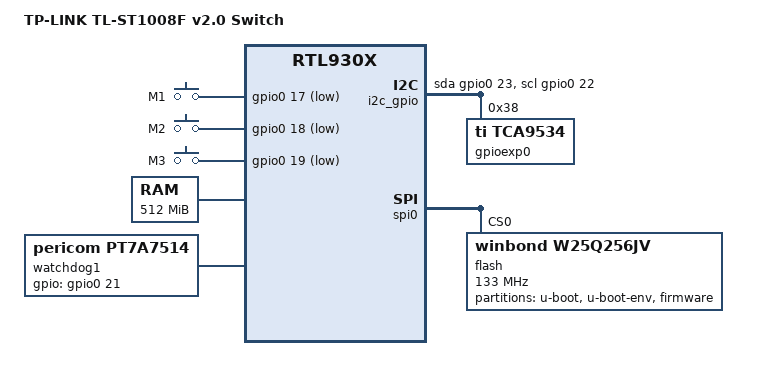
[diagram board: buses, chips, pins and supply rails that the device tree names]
// SPDX-License-Identifier: (GPL-2.0-or-later OR MIT)
/dts-v1/;

#include <dt-bindings/gpio/gpio.h>
#include <dt-bindings/input/input.h>
#include <dt-bindings/leds/common.h>
#include <dt-bindings/leds/leds-realtek.h>

#include "rtl9303.dtsi"
#include "rtl9303_common_8s.dtsi"

/ {
	compatible = "tp-link,st1008fv2.0", "realtek,rtl9303-soc", "realtek,rtl930x-soc";
	model = "TP-LINK TL-ST1008F v2.0 Switch";

	gpio-keys {
		compatible = "gpio-keys";

		/* Three-state front-panel slider switch with printed labels M1, M2 and M3 */
		m1 {
			label = "M1";
			gpios = <&gpio0 17 GPIO_ACTIVE_LOW>;
			debounce-interval = <50>;
			linux,code = <BTN_0>;
			linux,input-type = <EV_SW>;
		};

		m2 {
			label = "M2";
			gpios = <&gpio0 18 GPIO_ACTIVE_LOW>;
			debounce-interval = <50>;
			linux,code = <BTN_1>;
			linux,input-type = <EV_SW>;
		};

		m3 {
			label = "M3";
			gpios = <&gpio0 19 GPIO_ACTIVE_LOW>;
			debounce-interval = <50>;
			linux,code = <BTN_2>;
			linux,input-type = <EV_SW>;
		};
	};

	i2c_gpio {
		compatible = "i2c-gpio";
		#address-cells = <1>;
		#size-cells = <0>;
		i2c-gpio,delay-us = <2>;
		scl-gpios = <&gpio0 22 (GPIO_ACTIVE_HIGH | GPIO_OPEN_DRAIN)>;
		sda-gpios = <&gpio0 23 (GPIO_ACTIVE_HIGH | GPIO_OPEN_DRAIN)>;

		gpioexp0: i2c@38 {
			reg = <0x38>;
			compatible = "ti,tca9534", "nxp,pca9534";
			gpio-controller;
			#gpio-cells = <2>;
		};
	};

	led_set {
		compatible = "realtek,rtl9302-leds", "realtek,rtl9300-leds";
		active-high;
		led_set0 = /bits/ 16 <
			/* LED0 */
			(
				RTL93XX_LED_SET_LINK_ACTIVITY |
				RTL93XX_LED_SET_LINK_UP_SOLID |
				RTL93XX_LED_SET_10G_LINK
			)
			/* LED1 */
			(
				RTL93XX_LED_SET_LINK_ACTIVITY |
				RTL93XX_LED_SET_LINK_UP_SOLID |
				RTL93XX_LED_SET_2G5_LINK
			)
			/* LED2 */
			(
				RTL93XX_LED_SET_LINK_ACTIVITY |
				RTL93XX_LED_SET_LINK_UP_SOLID |
				RTL93XX_LED_SET_1000M_LINK |
				RTL93XX_LED_SET_100M_LINK |
				RTL93XX_LED_SET_10M_LINK
			)
		>;
	};

	memory@0 {
		reg = <0x0 0x20000000>; /* 512 MiB */
		device_type = "memory";
	};

	watchdog1: watchdog {
		compatible = "pericom,pt7a7514", "linux,wdt-gpio";
		gpios = <&gpio0 21 GPIO_ACTIVE_HIGH>;
		hw_algo = "toggle";
		hw_margin_ms = <1200>;
		always-running;
	};
};

&sfp0 {
	mod-def0-gpio = <&gpio0 0 GPIO_ACTIVE_LOW>;
	tx-disable-gpio = <&gpioexp0 0 GPIO_ACTIVE_HIGH>;
};

&sfp1 {
	mod-def0-gpio = <&gpio0 1 GPIO_ACTIVE_LOW>;
	tx-disable-gpio = <&gpioexp0 1 GPIO_ACTIVE_HIGH>;
};

&sfp2 {
	mod-def0-gpio = <&gpio0 2 GPIO_ACTIVE_LOW>;
	tx-disable-gpio = <&gpioexp0 2 GPIO_ACTIVE_HIGH>;
};

&sfp3 {
	mod-def0-gpio = <&gpio0 3 GPIO_ACTIVE_LOW>;
	tx-disable-gpio = <&gpioexp0 3 GPIO_ACTIVE_HIGH>;
};

&sfp4 {
	mod-def0-gpio = <&gpio0 4 GPIO_ACTIVE_LOW>;
	tx-disable-gpio = <&gpioexp0 4 GPIO_ACTIVE_HIGH>;
};

&sfp5 {
	mod-def0-gpio = <&gpio0 5 GPIO_ACTIVE_LOW>;
	tx-disable-gpio = <&gpioexp0 5 GPIO_ACTIVE_HIGH>;
};

&sfp6 {
	mod-def0-gpio = <&gpio0 6 GPIO_ACTIVE_LOW>;
	tx-disable-gpio = <&gpioexp0 6 GPIO_ACTIVE_HIGH>;
};

&sfp7 {
	mod-def0-gpio = <&gpio0 7 GPIO_ACTIVE_LOW>;
	tx-disable-gpio = <&gpioexp0 7 GPIO_ACTIVE_HIGH>;
};

&spi0 {
	status = "okay";
	flash@0 {
		compatible = "winbond,w25q256jv", "jedec,spi-nor";
		reg = <0>;
		spi-max-frequency = <133000000>;

		partitions: partitions {
			compatible = "fixed-partitions";
			#address-cells = <1>;
			#size-cells = <1>;

			partition@0 {
				reg = <0x0 0xe0000>;
				label = "u-boot";
				read-only;
			};

			partition@e0000 {
				reg = <0xe0000 0x10000>;
				label = "u-boot-env";
			};

			partition@f0000 {
				reg = <0xf0000 0x1f10000>;
				compatible = "openwrt,uimage", "denx,uimage";
				label = "firmware";
				openwrt,ih-magic = <0x93000000>;
			};
		};
	};
};

&switch0 {
	switch0_ports: ports {
		#address-cells = <1>;
		#size-cells = <0>;

		port@0 {
			reg = <0>;
			label = "lan1";
			led-num = <(
				RTL93XX_LED_NUM0 | /* Lime */
				RTL93XX_LED_NUM1 | /* Lime */
				RTL93XX_LED_NUM2   /* Lime */
			)>;
			led-set = <0>;
			phy-handle = <&phy0>;
			phy-mode = "10gbase-r";
			managed = "in-band-status";
			sfp = <&sfp0>;
		};

		port@8 {
			reg = <8>;
			label = "lan2";
			led-num = <(
				RTL93XX_LED_NUM0 | /* Lime */
				RTL93XX_LED_NUM1 | /* Lime */
				RTL93XX_LED_NUM2   /* Lime */
			)>;
			led-set = <0>;
			phy-handle = <&phy8>;
			phy-mode = "10gbase-r";
			managed = "in-band-status";
			sfp = <&sfp1>;
		};

		port@16 {
			reg = <16>;
			label = "lan3";
			led-num = <(
				RTL93XX_LED_NUM0 | /* Lime */
				RTL93XX_LED_NUM1 | /* Lime */
				RTL93XX_LED_NUM2   /* Lime */
			)>;
			led-set = <0>;
			phy-handle = <&phy16>;
			phy-mode = "10gbase-r";
			managed = "in-band-status";
			sfp = <&sfp2>;
		};

		port@20 {
			reg = <20>;
			label = "lan4";
			led-num = <(
				RTL93XX_LED_NUM0 | /* Lime */
				RTL93XX_LED_NUM1 | /* Lime */
				RTL93XX_LED_NUM2   /* Lime */
			)>;
			led-set = <0>;
			phy-handle = <&phy20>;
			phy-mode = "10gbase-r";
			managed = "in-band-status";
			sfp = <&sfp3>;
		};

		port@24 {
			reg = <24>;
			label = "lan5";
			led-num = <(
				RTL93XX_LED_NUM0 | /* Lime */
				RTL93XX_LED_NUM1 | /* Lime */
				RTL93XX_LED_NUM2   /* Lime */
			)>;
			led-set = <0>;
			phy-handle = <&phy24>;
			phy-mode = "10gbase-r";
			managed = "in-band-status";
			sfp = <&sfp4>;
		};

		port@25 {
			reg = <25>;
			label = "lan6";
			led-num = <(
				RTL93XX_LED_NUM0 | /* Lime */
				RTL93XX_LED_NUM1 | /* Lime */
				RTL93XX_LED_NUM2   /* Lime */
			)>;
			led-set = <0>;
			phy-handle = <&phy25>;
			phy-mode = "10gbase-r";
			managed = "in-band-status";
			sfp = <&sfp5>;
		};

		port@26 {
			reg = <26>;
			label = "lan7";
			led-num = <(
				RTL93XX_LED_NUM0 | /* Lime */
				RTL93XX_LED_NUM1 | /* Lime */
				RTL93XX_LED_NUM2   /* Lime */
			)>;
			led-set = <0>;
			phy-handle = <&phy26>;
			phy-mode = "10gbase-r";
			managed = "in-band-status";
			sfp = <&sfp6>;
		};

		port@27 {
			reg = <27>;
			label = "lan8";
			led-num = <(
				RTL93XX_LED_NUM0 | /* Lime */
				RTL93XX_LED_NUM1 | /* Lime */
				RTL93XX_LED_NUM2   /* Lime */
			)>;
			led-set = <0>;
			phy-handle = <&phy27>;
			phy-mode = "10gbase-r";
			managed = "in-band-status";
			sfp = <&sfp7>;
		};

		/* Internal SoC <-> Switch ethernet connection */
		port@28 {
			reg = <28>;
			ethernet = <&ethernet0>;
			phy-mode = "internal";
			fixed-link {
				speed = <1000>;
				full-duplex;
			};
		};
	};
};
